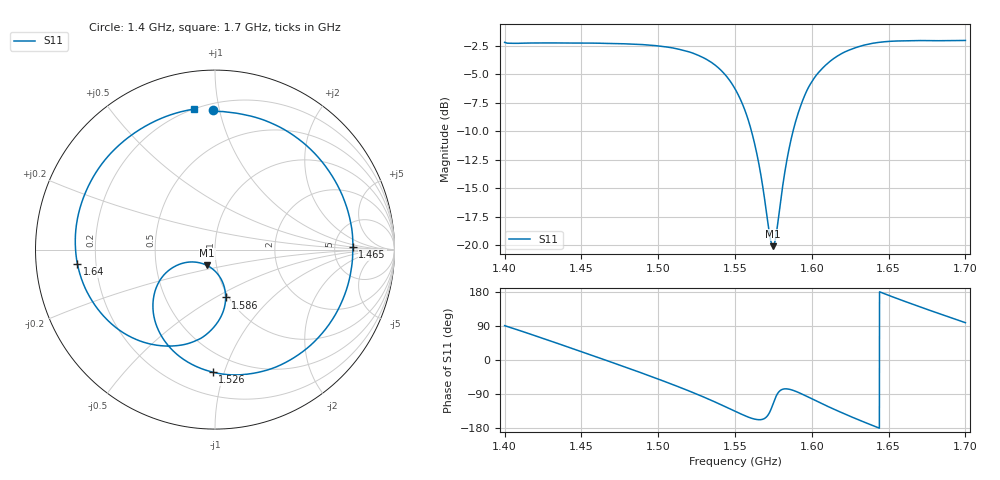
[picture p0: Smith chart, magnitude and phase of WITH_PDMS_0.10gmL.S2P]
!Keysight Technologies,E5063A,MY54503975,A.05.08
!Date: Fri Mar 07 04:46:42 2025
!Data & Calibration Information:
!Freq	S11:NONE(--)	S21:RESPT(ON)	S12:NONE(--)	S22:NONE(--)
# Hz S RI R 50
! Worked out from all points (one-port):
!   3001 points, 1.4 GHz to 1.7 GHz, reference 50 ohm
!   lowest |S11| = -20.1 dB at 1.575 GHz (marker M1), VSWR 1.22, Z = 45.1 - j8.04 ohm
!   |S11| at or under -10 dB: 1.561 GHz to 1.588 GHz (27.05 MHz wide, 1.72 % of centre)
!   S11 on the Smith chart (normalised r, x): 1.4 GHz: 0.25, +0.96; 1.465 GHz: 7.59, +0.57; 1.526 GHz: 0.36, -0.91; 1.586 GHz: 0.97, -0.56; 1.64 GHz: 0.13, -0.05; 1.7 GHz: 0.20, +0.84
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1.4e9  -0.00837 0.7762  -0 -0  0 0  0 0
1.4239e9  0.4043 0.6579  0 -0  0 0  0 0
1.45e9  0.7146 0.2892  -0 0  0 0  0 0
1.4647e9  0.7682 0.0153  -0 0  0 0  0 0
1.4824e9  0.6961 -0.3136  -0 0  0 0  0 0
1.5e9  0.4778 -0.5767  0 -0  0 0  0 0
1.5132e9  0.2395 -0.6841  0 0  0 0  0 0
1.5257e9  -0.0131 -0.6828  0 0  0 0  0 0
1.5397e9  -0.259 -0.5366  0 0  0 0  0 0
1.55e9  -0.3447 -0.3421  0 -0  0 0  0 0
1.5621e9  -0.2645 -0.1214  0 0  0 0  0 0
1.5747e9  -0.0443 -0.0884  0 0  0 0  0 0
1.5856e9  0.0593 -0.2663  0 0  0 0  0 0
1.6e9  -0.1109 -0.5093  0 -0  0 0  0 0
1.6085e9  -0.2956 -0.536  0 -0  0 0  0 0
1.6175e9  -0.4853 -0.4785  -0 0  0 0  0 0
1.6291e9  -0.6723 -0.3048  -0 0  0 0  0 0
1.6403e9  -0.7666 -0.0804  -0 -0  0 0  0 0
1.65e9  -0.7735 0.1273  -0 -0  0 0  0 0
1.6625e9  -0.6959 0.3727  -0 -0  0 0  0 0
1.676e9  -0.5308 0.5854  -0 -0  0 0  0 0
1.7e9  -0.1165 0.783  -0 -0  0 0  0 0
